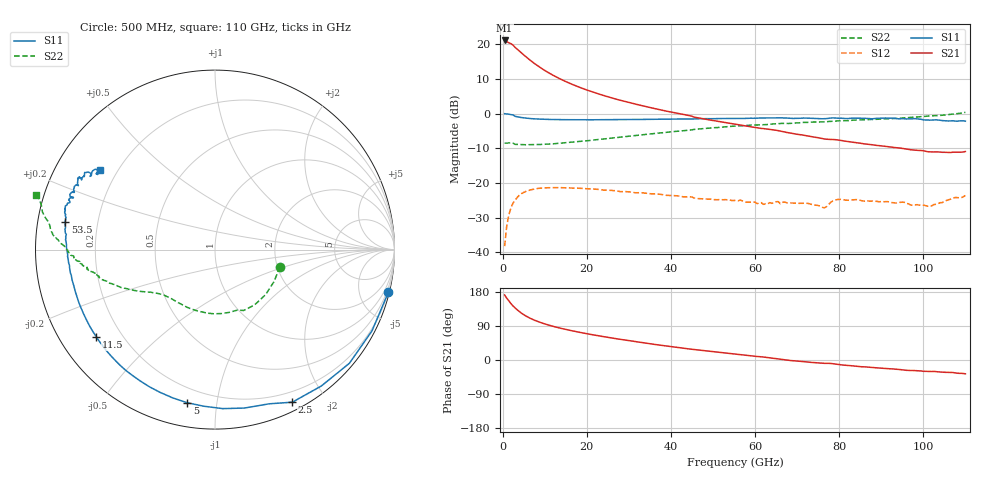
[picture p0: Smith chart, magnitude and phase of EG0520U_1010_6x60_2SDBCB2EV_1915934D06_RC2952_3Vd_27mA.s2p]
!File name = EG0520U_1010_6x60_2SDBCB2EV_1915934D06_RC2952_3Vd_27mA.s2p
!Base file name = EG0520U_1010_6x60_2SDBCB2EV_1915934D06_RC2952
!Date = 8/23/2019
!Time = 1:14 PM
!Test duration(min) = 0.15
!Test = S-Parameters
!MPTS version = 8.91.5
!State File = C:\Data\PNA\20190821205423\S-Parameters_2019-08-23.sta
!Cal File =
!ComputerName = CMPE-LAB-6
!Comments =
!Attenuation = 0
!Z0 = 50
!Input Power(dBm) = -13.00
!Device ID = EG0520U_1010_6x60_2SDBCB2EV
!Row = 29
!Column = 52
!Technology = QPHT09
!Lot/Wafer = 1915934D06
!Gate Size = 360
!Mask = EG0520
!Cal Standards = GaAs BCB
!Cal Kit = EG2306
!Job Number = 20190821205423
!Device Type = FET
!set_Vg(v) = -1.500
!set_Vd(v) = 3.000
!set_Vd(mA) = 27.000
!file_name = EG0520U_1010_6x60_2SDBCB2EV_1915934D06_RC2952_3Vd_27mA.s2p
!Vd(V) = 3.000
!Vd(mA) = 26.895
!Vg(V) = -0.553
!Vg(mA) = -0.002
# GHz  S  DB  R  50
!%	Freq(GHz)  s11(dB)  s11(deg)  s21(dB)  s21(deg)  s12(dB)  s12(deg)  s22(dB)  s22(deg)
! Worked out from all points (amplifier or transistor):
!   220 points, 500 MHz to 110 GHz, reference 50 ohm
!   highest |S21| = 21.0 dB at 500 MHz (marker M1)
!   |S21| within 3 dB of that: start of sweep to 3.961 GHz
!   unconditionally stable (mu >= 1): 34.46 GHz to 102.6 GHz
!   at 18.5 GHz: K = 0.52, MSG = 14.5 dB, |S12| = -21.5 dB
!   at 55.5 GHz: K = 1.46, MAG = 6.9 dB, |S12| = -25.0 dB
!   at 110 GHz: K = -1.69, MSG = 6.3 dB, |S12| = -23.6 dB
!   S11 on the Smith chart (normalised r, x): 500 MHz: 0.18, -8.25; 2.5 GHz: 0.09, -1.62; 5 GHz: 0.12, -0.83; 11.5 GHz: 0.11, -0.32; 53.5 GHz: 0.08, +0.09; 110 GHz: 0.14, +0.31
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0.5  -0.04 -13.8  21.04 171.5  -38.21 81.4  -8.53 -14.8
1  -0.13 -27.4  20.69 163.2  -32.40 74.1  -8.54 -28.4
1.5  -0.17 -40.2  20.37 156.3  -29.22 67.0  -8.46 -41.6
2  -0.32 -52.1  20.11 148.9  -27.18 60.2  -8.43 -54.5
2.5  -0.42 -63.1  19.71 142.6  -25.78 54.6  -8.52 -64.9
3.5  -0.94 -79.5  18.54 132.3  -24.16 45.8  -8.91 -77.4
4.5  -1.16 -94.1  17.46 123.6  -23.10 38.2  -8.93 -91.0
5  -1.24 -100.3  16.93 119.9  -22.74 35.1  -8.96 -96.5
6  -1.39 -111.0  15.91 113.3  -22.23 29.8  -8.98 -105.6
7.5  -1.53 -123.3  14.48 105.4  -21.78 23.7  -8.95 -115.8
9.5  -1.64 -134.9  12.82 97.2  -21.44 17.6  -8.89 -124.4
11.5  -1.72 -143.7  11.36 90.4  -21.34 13.1  -8.77 -130.6
14.5  -1.77 -153.1  9.50 82.0  -21.38 8.1  -8.48 -136.8
19  -1.80 -162.5  7.23 71.6  -21.59 2.8  -7.96 -142.3
27  -1.76 -172.9  4.14 56.2  -22.27 -2.7  -6.92 -148.4
37  -1.64 179.1  1.20 39.8  -23.20 -4.8  -5.65 -154.7
53.5  -1.44 169.6  -2.74 17.6  -24.89 -4.2  -3.79 -164.9
55.5  -1.42 168.4  -3.12 15.3  -24.98 -4.5  -3.60 -166.0
73.5  -1.38 160.3  -6.67 -6.4  -26.19 -5.8  -2.44 -174.2
92  -1.36 151.9  -9.62 -23.2  -25.50 -15.8  -1.48 178.4
102  -1.89 148.8  -11.08 -30.4  -26.60 -13.1  -0.66 172.3
110  -2.20 145.4  -10.95 -36.4  -23.61 -16.1  0.35 162.9
